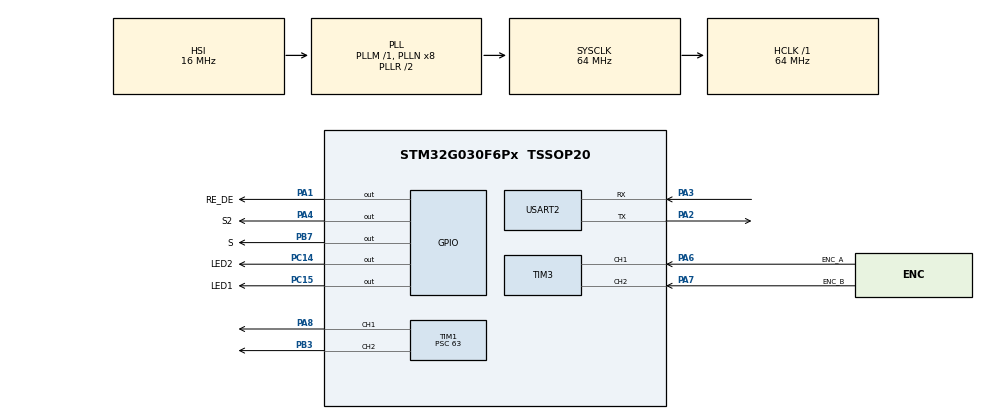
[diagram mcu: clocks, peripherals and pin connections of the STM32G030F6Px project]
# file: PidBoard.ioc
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Dma.Request0=USART2_RX
Dma.Request1=USART2_TX
Dma.USART2_RX.0.Direction=DMA_PERIPH_TO_MEMORY
Dma.USART2_RX.0.EventEnable=DISABLE
Dma.USART2_RX.0.Instance=DMA1_Channel1
Dma.USART2_RX.0.MemDataAlignment=DMA_MDATAALIGN_BYTE
Dma.USART2_RX.0.MemInc=DMA_MINC_ENABLE
Dma.USART2_RX.0.Mode=DMA_CIRCULAR
Dma.USART2_RX.0.PeriphDataAlignment=DMA_PDATAALIGN_BYTE
Dma.USART2_RX.0.PeriphInc=DMA_PINC_DISABLE
Dma.USART2_RX.0.Polarity=HAL_DMAMUX_REQ_GEN_RISING
Dma.USART2_RX.0.Priority=DMA_PRIORITY_MEDIUM
Dma.USART2_RX.0.RequestNumber=1
Dma.USART2_RX.0.SignalID=NONE
Dma.USART2_RX.0.SyncEnable=DISABLE
Dma.USART2_RX.0.SyncPolarity=HAL_DMAMUX_SYNC_NO_EVENT
Dma.USART2_RX.0.SyncRequestNumber=1
Dma.USART2_RX.0.SyncSignalID=NONE
Dma.USART2_TX.1.Direction=DMA_MEMORY_TO_PERIPH
Dma.USART2_TX.1.EventEnable=DISABLE
Dma.USART2_TX.1.Instance=DMA1_Channel2
Dma.USART2_TX.1.MemDataAlignment=DMA_MDATAALIGN_BYTE
Dma.USART2_TX.1.MemInc=DMA_MINC_ENABLE
Dma.USART2_TX.1.Mode=DMA_NORMAL
Dma.USART2_TX.1.PeriphDataAlignment=DMA_PDATAALIGN_BYTE
Dma.USART2_TX.1.PeriphInc=DMA_PINC_DISABLE
Dma.USART2_TX.1.Polarity=HAL_DMAMUX_REQ_GEN_RISING
Dma.USART2_TX.1.Priority=DMA_PRIORITY_LOW
Dma.USART2_TX.1.RequestNumber=1
Dma.USART2_TX.1.SignalID=NONE
Dma.USART2_TX.1.SyncEnable=DISABLE
Dma.USART2_TX.1.SyncPolarity=HAL_DMAMUX_SYNC_NO_EVENT
Dma.USART2_TX.1.SyncRequestNumber=1
Dma.USART2_TX.1.SyncSignalID=NONE
Mcu.Family=STM32G0
Mcu.Name=STM32G030F6Px
Mcu.Package=TSSOP20
NVIC.DMA1_Channel1_IRQn=true\:1\:0\:false\:false\:true\:false\:true\:true
NVIC.DMA1_Channel2_3_IRQn=true\:1\:0\:false\:false\:true\:false\:true\:true
NVIC.TIM14_IRQn=true\:2\:0\:false\:false\:true\:true\:true\:true
NVIC.TIM3_IRQn=true\:2\:0\:false\:false\:true\:true\:true\:true
NVIC.USART2_IRQn=true\:1\:0\:false\:false\:true\:false\:true\:true
PA1.GPIO_Label=RE_DE
PA1.GPIO_PuPd=GPIO_NOPULL
PA1.GPIO_Speed=GPIO_SPEED_FREQ_HIGH
PA1.PinState=GPIO_PIN_RESET
PA1.Signal=GPIO_Output
PA13.Mode=Serial_Wire
PA13.Signal=SYS_SWDIO
PA14-BOOT0.Mode=Serial_Wire
PA14-BOOT0.Signal=SYS_SWCLK
PA14-BOOT0__PA15.StandardMode=true
PA2.Mode=Asynchronous
PA2.Signal=USART2_TX
PA3.Mode=Asynchronous
PA3.Signal=USART2_RX
PA4.GPIO_Label=S2
PA4.GPIO_PuPd=GPIO_NOPULL
PA4.GPIO_Speed=GPIO_SPEED_FREQ_LOW
PA4.PinState=GPIO_PIN_RESET
PA4.Signal=GPIO_Output
PA6.GPIO_Label=ENC_A
PA6.GPIO_PuPd=GPIO_PULLUP
PA6.Signal=S_TIM3_CH1
PA7.GPIO_Label=ENC_B
PA7.GPIO_PuPd=GPIO_PULLUP
PA7.Signal=S_TIM3_CH2
PA8.Signal=S_TIM1_CH1
PB0__PB1__PB2__PA8.StandardMode=true
PB3.Signal=S_TIM1_CH2
PB3__PB4__PB5__PB6.StandardMode=true
PB7.GPIO_Label=S
PB7.GPIO_PuPd=GPIO_NOPULL
PB7.GPIO_Speed=GPIO_SPEED_FREQ_LOW
PB7.PinState=GPIO_PIN_RESET
PB7.Signal=GPIO_Output
PB7__PB8.StandardMode=true
PC14-OSC32_IN\ (PC14).GPIO_Label=LED2
PC14-OSC32_IN\ (PC14).GPIO_PuPd=GPIO_NOPULL
PC14-OSC32_IN\ (PC14).GPIO_Speed=GPIO_SPEED_FREQ_LOW
PC14-OSC32_IN\ (PC14).PinState=GPIO_PIN_SET
PC14-OSC32_IN\ (PC14).Signal=GPIO_Output
PC14-OSC32_IN\ (PC14)__PB9.StandardMode=true
PC15-OSC32_OUT\ (PC15).GPIO_Label=LED1
PC15-OSC32_OUT\ (PC15).GPIO_PuPd=GPIO_NOPULL
PC15-OSC32_OUT\ (PC15).GPIO_Speed=GPIO_SPEED_FREQ_LOW
PC15-OSC32_OUT\ (PC15).PinState=GPIO_PIN_SET
PC15-OSC32_OUT\ (PC15).Signal=GPIO_Output
ProjectManager.HeapSize=0x200
ProjectManager.StackSize=0x400
ProjectManager.TargetToolchain=STM32CubeIDE
RCC.ADCFreq_Value=64000000
RCC.AHBFreq_Value=64000000
RCC.CortexFreq_Value=64000000
RCC.EXTERNAL_CLOCK_VALUE=12288000
RCC.FLatency=FLASH_LATENCY_2
RCC.HCLKFreq_Value=64000000
RCC.HSE_VALUE=8000000
RCC.HSI_VALUE=16000000
RCC.LSE_VALUE=32768
RCC.SYSCLKFreq_VALUE=64000000
RCC.SYSCLKSource=RCC_SYSCLKSOURCE_PLLCLK
RCC.VCOOutputFreq_Value=128000000
SH.S_TIM1_CH1.0=TIM1_CH1,PWM Generation1 CH1
SH.S_TIM1_CH2.0=TIM1_CH2,PWM Generation2 CH2
SH.S_TIM3_CH1.0=TIM3_CH1,Encoder_Interface
SH.S_TIM3_CH2.0=TIM3_CH2,Encoder_Interface
TIM1.AutoReloadPreload=TIM_AUTORELOAD_PRELOAD_ENABLE
TIM1.Channel-PWM\ Generation1\ CH1=TIM_CHANNEL_1
TIM1.Channel-PWM\ Generation2\ CH2=TIM_CHANNEL_2
TIM1.Period=999
TIM1.Prescaler=63
TIM14.Period=999
TIM14.Prescaler=63
TIM3.EncoderMode=TIM_ENCODERMODE_TI12
TIM3.IC1Filter=4
TIM3.IC2Filter=4
TIM3.IC2Polarity=TIM_ICPOLARITY_FALLING
USART2.VirtualMode-Asynchronous=VM_ASYNC
VP_TIM14_VS_ClockSourceINT.Mode=Enable_Timer
board=custom

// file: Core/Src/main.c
/* USER CODE BEGIN Header */
/**
  ******************************************************************************
  * @file           : main.c
  * @brief          : PidBoard (STM32G030F6Px / HB_RBC) 1 kHz Motor PID + RS-485 Slave
  ******************************************************************************
  * @attention
  *
  * Copyright (c) 2026 STMicroelectronics.
  * All rights reserved.
  *
  * This software is licensed under terms that can be found in the LICENSE file
  * in the root directory of this software component.
  * If no LICENSE file comes with this software, it is provided AS-IS.
  *
  ******************************************************************************
  */
/* USER CODE END Header */
#include "main.h"

/* USER CODE BEGIN Includes */
#include "pid_controller.h"
#include "rs485_bus.h"
/* USER CODE END Includes */

TIM_HandleTypeDef htim1;
TIM_HandleTypeDef htim3;
TIM_HandleTypeDef htim14;

UART_HandleTypeDef huart2;
DMA_HandleTypeDef hdma_usart2_rx;
DMA_HandleTypeDef hdma_usart2_tx;

/* USER CODE BEGIN PV */
PID_Controller_t g_pid = {0};
RS485_Bus_t g_rs485 = {0};
/* USER CODE END PV */

void SystemClock_Config(void);
static void MX_GPIO_Init(void);
static void MX_DMA_Init(void);
static void MX_TIM1_Init(void);
static void MX_TIM3_Init(void);
static void MX_TIM14_Init(void);
static void MX_USART2_UART_Init(void);
/* USER CODE BEGIN PFP */
static void pid_apply_motor_outputs(uint8_t gate_enable, int32_t hw_duty_permille);
static void pid_handle_rx_frame(const RS485_Frame_t *frame, uint32_t now_ms);
static void pid_on_rs485_rx(RS485_Bus_t *bus, const RS485_Frame_t *frame, void *ctx);
static void pid_update_status_leds(uint32_t now_ms);
/* USER CODE END PFP */

/* USER CODE BEGIN 0 */
static void pid_apply_motor_outputs(uint8_t gate_enable, int32_t hw_duty_permille)
{
  if (gate_enable == 0U)
  {
    __HAL_TIM_SET_COMPARE(&htim1, TIM_CHANNEL_1, 0U);
    __HAL_TIM_SET_COMPARE(&htim1, TIM_CHANNEL_2, 0U);
    HAL_GPIO_WritePin(S_GPIO_Port, S_Pin, GPIO_PIN_RESET);
    HAL_GPIO_WritePin(S2_GPIO_Port, S2_Pin, GPIO_PIN_RESET);
    return;
  }

  /* Enable both IR2184 ~SD inputs; PWM duty is clamped <= 975 to guarantee bootstrap recharge */
  HAL_GPIO_WritePin(S_GPIO_Port, S_Pin, GPIO_PIN_SET);
  HAL_GPIO_WritePin(S2_GPIO_Port, S2_Pin, GPIO_PIN_SET);

  if (hw_duty_permille > 0)
  {
    uint32_t ccr = (uint32_t)hw_duty_permille;
    if (ccr > (uint32_t)PID_MAX_DUTY_PERMILLE)
    {
      ccr = (uint32_t)PID_MAX_DUTY_PERMILLE;
    }
    __HAL_TIM_SET_COMPARE(&htim1, TIM_CHANNEL_1, 0U);
    __HAL_TIM_SET_COMPARE(&htim1, TIM_CHANNEL_2, ccr);
  }
  else if (hw_duty_permille < 0)
  {
    uint32_t ccr = (uint32_t)(-hw_duty_permille);
    if (ccr > (uint32_t)PID_MAX_DUTY_PERMILLE)
    {
      ccr = (uint32_t)PID_MAX_DUTY_PERMILLE;
    }
    __HAL_TIM_SET_COMPARE(&htim1, TIM_CHANNEL_2, 0U);
    __HAL_TIM_SET_COMPARE(&htim1, TIM_CHANNEL_1, ccr);
  }
  else
  {
    /* Active low-side brake: both IN pins low while ~SD remains HIGH */
    __HAL_TIM_SET_COMPARE(&htim1, TIM_CHANNEL_1, 0U);
    __HAL_TIM_SET_COMPARE(&htim1, TIM_CHANNEL_2, 0U);
  }
}

static void pid_handle_rx_frame(const RS485_Frame_t *frame, uint32_t now_ms)
{
  if (frame == NULL)
  {
    return;
  }

  if (frame->msg_type == (uint8_t)RS485_MSG_MULTI_CMD)
  {
    RS485_MultiCmd_t multi;
    if (!RS485_DecodeMultiCmd(frame, &multi))
    {
      return;
    }

    uint8_t node_id = g_pid.cfg.node_id;
    uint8_t slot_idx = (node_id >= RS485_ADDR_SLAVE_MIN) ? (uint8_t)(node_id - 1U) : 0xFFU;
    bool need_telem = false;
    RS485_Telem_t telem = {0};

    uint32_t primask = __get_PRIMASK();
    __disable_irq();
    if ((multi.flags & RS485_CMD_FLAG_ESTOP) != 0U)
    {
      PID_ApplyCommand(&g_pid, RS485_WHEEL_DISABLED, 0, multi.flags, now_ms);
    }
    else if (slot_idx < multi.num_wheels)
    {
      PID_ApplyCommand(&g_pid,
                       (RS485_WheelMode_t)multi.wheels[slot_idx].mode,
                       (int32_t)multi.wheels[slot_idx].target,
                       multi.flags,
                       now_ms);
    }

    if (multi.poll_id == node_id)
    {
      PID_BuildTelem(&g_pid, &telem);
      need_telem = true;
    }
    if (primask == 0U)
    {
      __enable_irq();
    }

    if (need_telem)
    {
      (void)RS485_ScheduleTelemReply(&g_rs485, frame->src_id, &telem, now_ms);
    }
  }
  else if (frame->msg_type == (uint8_t)RS485_MSG_WHEEL_CMD)
  {
    RS485_WheelCmd_t wcmd;
    if (!RS485_DecodeWheelCmd(frame, &wcmd))
    {
      return;
    }

    RS485_Telem_t telem = {0};
    bool unicast = (frame->dst_id == g_pid.cfg.node_id);

    uint32_t primask = __get_PRIMASK();
    __disable_irq();
    PID_ApplyCommand(&g_pid, (RS485_WheelMode_t)wcmd.mode, wcmd.target, wcmd.flags, now_ms);
    if (unicast)
    {
      PID_BuildTelem(&g_pid, &telem);
    }
    if (primask == 0U)
    {
      __enable_irq();
    }

    if (unicast)
    {
      (void)RS485_ScheduleTelemReply(&g_rs485, frame->src_id, &telem, now_ms);
    }
  }
  else if (frame->msg_type == (uint8_t)RS485_MSG_CFG_CMD)
  {
    RS485_CfgCmd_t ccmd;
    if (!RS485_DecodeCfgCmd(frame, &ccmd))
    {
      return;
    }

    bool save_deferred = false;
    uint8_t status;
    uint8_t updated_id;

    uint32_t primask = __get_PRIMASK();
    __disable_irq();
    status = PID_HandleConfigSubcmd(&g_pid, &ccmd, &save_deferred);
    updated_id = g_pid.cfg.node_id;
    if (primask == 0U)
    {
      __enable_irq();
    }
    (void)save_deferred;

    RS485_SetLocalId(&g_rs485, updated_id);

    if (frame->dst_id != RS485_ADDR_BCAST)
    {
      RS485_CfgAck_t ack = {0};
      ack.node_id  = updated_id;
      ack.subcmd   = ccmd.subcmd;
      ack.status   = status;
      ack.reserved = 0U;
      (void)RS485_ScheduleCfgAckReply(&g_rs485, frame->src_id, &ack, now_ms);
    }
  }
}

static void pid_on_rs485_rx(RS485_Bus_t *bus, const RS485_Frame_t *frame, void *ctx)
{
  (void)ctx;
  if ((bus != NULL) && (frame != NULL))
  {
    pid_handle_rx_frame(frame, bus->last_rx_tick_ms);
  }
}

static void pid_update_status_leds(uint32_t now_ms)
{
  /* LED1 (PC15, active-LOW): solid ON when RS-485 bus active, 1 Hz blink when idle */
  bool link_alive = RS485_IsLinkAlive(&g_rs485, now_ms, PID_CMD_WATCHDOG_MS);
  GPIO_PinState led1_state = (link_alive || (((now_ms / 500U) & 1U) == 0U))
                               ? GPIO_PIN_RESET
                               : GPIO_PIN_SET;
  HAL_GPIO_WritePin(LED1_GPIO_Port, LED1_Pin, led1_state);

  /* LED2 (PC14, active-LOW): ON on E-STOP / watchdog / comm error / saturation, OFF when healthy */
  bool fault_or_sat = (g_pid.watchdog_tripped != 0U) ||
                      (g_pid.estop_latched != 0U) ||
                      (g_pid.comm_err_latched != 0U) ||
                      (g_pid.saturated != 0U);
  HAL_GPIO_WritePin(LED2_GPIO_Port, LED2_Pin, fault_or_sat ? GPIO_PIN_RESET : GPIO_PIN_SET);
}
/* USER CODE END 0 */

int main(void)
{

  /* MCU Configuration--------------------------------------------------------*/

  /* Reset of all peripherals, Initializes the Flash interface and the Systick. */
  HAL_Init();

  /* Configure the system clock */
  SystemClock_Config();

  /* Initialize all configured peripherals */
  MX_GPIO_Init();
  MX_DMA_Init();
  MX_TIM1_Init();
  MX_TIM3_Init();
  MX_TIM14_Init();
  MX_USART2_UART_Init();
  /* USER CODE BEGIN 2 */
  __HAL_TIM_SET_COMPARE(&htim1, TIM_CHANNEL_1, 0U);
  __HAL_TIM_SET_COMPARE(&htim1, TIM_CHANNEL_2, 0U);
  HAL_GPIO_WritePin(S_GPIO_Port, S_Pin, GPIO_PIN_RESET);
  HAL_GPIO_WritePin(S2_GPIO_Port, S2_Pin, GPIO_PIN_RESET);
  HAL_GPIO_WritePin(RE_DE_GPIO_Port, RE_DE_Pin, GPIO_PIN_RESET);

  if (HAL_TIM_PWM_Start(&htim1, TIM_CHANNEL_1) != HAL_OK)
  {
    Error_Handler();
  }
  if (HAL_TIM_PWM_Start(&htim1, TIM_CHANNEL_2) != HAL_OK)
  {
    Error_Handler();
  }
  if (HAL_TIM_Encoder_Start(&htim3, TIM_CHANNEL_ALL) != HAL_OK)
  {
    Error_Handler();
  }

  PID_Init(&g_pid, (uint16_t)__HAL_TIM_GET_COUNTER(&htim3), HAL_GetTick());

  RS485_Init(&g_rs485, &huart2, RE_DE_GPIO_Port, RE_DE_Pin, g_pid.cfg.node_id);
  RS485_SetRxCallback(&g_rs485, pid_on_rs485_rx, NULL);
  if (RS485_StartRx(&g_rs485) != HAL_OK)
  {
    Error_Handler();
  }

  if (HAL_TIM_Base_Start_IT(&htim14) != HAL_OK)
  {
    Error_Handler();
  }
  uint32_t seen_uart_errs = g_rs485.stats.uart_err_recoveries;
  /* USER CODE END 2 */

  /* Infinite loop */
  while (1)
  {

    /* USER CODE BEGIN 3 */
    uint32_t now_ms = HAL_GetTick();

    RS485_ProcessRx(&g_rs485, now_ms);

    uint32_t err_cnt = g_rs485.stats.uart_err_recoveries;
    if (err_cnt != seen_uart_errs)
    {
      seen_uart_errs = err_cnt;
      uint32_t primask = __get_PRIMASK();
      __disable_irq();
      g_pid.comm_err_latched = 1U;
      if (primask == 0U)
      {
        __enable_irq();
      }
    }

    RS485_TickMs(&g_rs485, now_ms);

    if ((g_pid.pending_flash_save != 0U) &&
        (g_rs485.pending_reply_valid == 0U) &&
        (g_rs485.tx_active == 0U) &&
        (huart2.gState == HAL_UART_STATE_READY))
    {
      (void)HAL_TIM_Base_Stop_IT(&htim14);
      pid_apply_motor_outputs(0U, 0);
      PID_ResetControlState(&g_pid);
      g_pid.mode = RS485_WHEEL_DISABLED;
      (void)PID_SaveConfigFlash(&g_pid);
      g_pid.pending_flash_save = 0U;
      RS485_SetLocalId(&g_rs485, g_pid.cfg.node_id);
      (void)HAL_TIM_Base_Start_IT(&htim14);
    }

    pid_update_status_leds(now_ms);
  }
  /* USER CODE END 3 */
}

void SystemClock_Config(void)
{
  RCC_OscInitTypeDef RCC_OscInitStruct = {0};
  RCC_ClkInitTypeDef RCC_ClkInitStruct = {0};

  /** Configure the main internal regulator output voltage
  */
  HAL_PWREx_ControlVoltageScaling(PWR_REGULATOR_VOLTAGE_SCALE1);

  /** Initializes the RCC Oscillators according to the specified parameters
  * in the RCC_OscInitTypeDef structure.
  */
  RCC_OscInitStruct.OscillatorType = RCC_OSCILLATORTYPE_HSI;
  RCC_OscInitStruct.HSIState = RCC_HSI_ON;
  RCC_OscInitStruct.HSIDiv = RCC_HSI_DIV1;
  RCC_OscInitStruct.HSICalibrationValue = RCC_HSICALIBRATION_DEFAULT;
  RCC_OscInitStruct.PLL.PLLState = RCC_PLL_ON;
  RCC_OscInitStruct.PLL.PLLSource = RCC_PLLSOURCE_HSI;
  RCC_OscInitStruct.PLL.PLLM = RCC_PLLM_DIV1;
  RCC_OscInitStruct.PLL.PLLN = 8;
  RCC_OscInitStruct.PLL.PLLP = RCC_PLLP_DIV2;
  RCC_OscInitStruct.PLL.PLLR = RCC_PLLR_DIV2;
  if (HAL_RCC_OscConfig(&RCC_OscInitStruct) != HAL_OK)
  {
    Error_Handler();
  }

  /** Initializes the CPU, AHB and APB buses clocks
  */
  RCC_ClkInitStruct.ClockType = RCC_CLOCKTYPE_HCLK|RCC_CLOCKTYPE_SYSCLK
                              |RCC_CLOCKTYPE_PCLK1;
  RCC_ClkInitStruct.SYSCLKSource = RCC_SYSCLKSOURCE_PLLCLK;
  RCC_ClkInitStruct.AHBCLKDivider = RCC_SYSCLK_DIV1;
  RCC_ClkInitStruct.APB1CLKDivider = RCC_HCLK_DIV1;

  if (HAL_RCC_ClockConfig(&RCC_ClkInitStruct, FLASH_LATENCY_2) != HAL_OK)
  {
    Error_Handler();
  }
}

static void MX_TIM1_Init(void)
{

  TIM_MasterConfigTypeDef sMasterConfig = {0};
  TIM_OC_InitTypeDef sConfigOC = {0};
  TIM_BreakDeadTimeConfigTypeDef sBreakDeadTimeConfig = {0};

  htim1.Instance = TIM1;
  htim1.Init.Prescaler = 63;
  htim1.Init.CounterMode = TIM_COUNTERMODE_UP;
  htim1.Init.Period = 999;
  htim1.Init.ClockDivision = TIM_CLOCKDIVISION_DIV1;
  htim1.Init.RepetitionCounter = 0;
  htim1.Init.AutoReloadPreload = TIM_AUTORELOAD_PRELOAD_ENABLE;
  if (HAL_TIM_PWM_Init(&htim1) != HAL_OK)
  {
    Error_Handler();
  }
  sMasterConfig.MasterOutputTrigger = TIM_TRGO_RESET;
  sMasterConfig.MasterOutputTrigger2 = TIM_TRGO2_RESET;
  sMasterConfig.MasterSlaveMode = TIM_MASTERSLAVEMODE_DISABLE;
  if (HAL_TIMEx_MasterConfigSynchronization(&htim1, &sMasterConfig) != HAL_OK)
  {
    Error_Handler();
  }
  sConfigOC.OCMode = TIM_OCMODE_PWM1;
  sConfigOC.Pulse = 0;
  sConfigOC.OCPolarity = TIM_OCPOLARITY_HIGH;
  sConfigOC.OCNPolarity = TIM_OCNPOLARITY_HIGH;
  sConfigOC.OCFastMode = TIM_OCFAST_DISABLE;
  sConfigOC.OCIdleState = TIM_OCIDLESTATE_RESET;
  sConfigOC.OCNIdleState = TIM_OCNIDLESTATE_RESET;
  if (HAL_TIM_PWM_ConfigChannel(&htim1, &sConfigOC, TIM_CHANNEL_1) != HAL_OK)
  {
    Error_Handler();
  }
  if (HAL_TIM_PWM_ConfigChannel(&htim1, &sConfigOC, TIM_CHANNEL_2) != HAL_OK)
  {
    Error_Handler();
  }
  sBreakDeadTimeConfig.OffStateRunMode = TIM_OSSR_DISABLE;
  sBreakDeadTimeConfig.OffStateIDLEMode = TIM_OSSI_DISABLE;
  sBreakDeadTimeConfig.LockLevel = TIM_LOCKLEVEL_OFF;
  sBreakDeadTimeConfig.DeadTime = 0;
  sBreakDeadTimeConfig.BreakState = TIM_BREAK_DISABLE;
  sBreakDeadTimeConfig.BreakPolarity = TIM_BREAKPOLARITY_HIGH;
  sBreakDeadTimeConfig.BreakFilter = 0;
  sBreakDeadTimeConfig.BreakAFMode = TIM_BREAK_AFMODE_INPUT;
  sBreakDeadTimeConfig.Break2State = TIM_BREAK2_DISABLE;
  sBreakDeadTimeConfig.Break2Polarity = TIM_BREAK2POLARITY_HIGH;
  sBreakDeadTimeConfig.Break2Filter = 0;
  sBreakDeadTimeConfig.Break2AFMode = TIM_BREAK_AFMODE_INPUT;
  sBreakDeadTimeConfig.AutomaticOutput = TIM_AUTOMATICOUTPUT_DISABLE;
  if (HAL_TIMEx_ConfigBreakDeadTime(&htim1, &sBreakDeadTimeConfig) != HAL_OK)
  {
    Error_Handler();
  }
  HAL_TIM_MspPostInit(&htim1);

}

static void MX_TIM3_Init(void)
{

  TIM_Encoder_InitTypeDef sConfig = {0};
  TIM_MasterConfigTypeDef sMasterConfig = {0};

  htim3.Instance = TIM3;
  htim3.Init.Prescaler = 0;
  htim3.Init.CounterMode = TIM_COUNTERMODE_UP;
  htim3.Init.Period = 65535;
  htim3.Init.ClockDivision = TIM_CLOCKDIVISION_DIV1;
  htim3.Init.AutoReloadPreload = TIM_AUTORELOAD_PRELOAD_DISABLE;
  sConfig.EncoderMode = TIM_ENCODERMODE_TI12;
  sConfig.IC1Polarity = TIM_ICPOLARITY_RISING;
  sConfig.IC1Selection = TIM_ICSELECTION_DIRECTTI;
  sConfig.IC1Prescaler = TIM_ICPSC_DIV1;
  sConfig.IC1Filter = 4;
  sConfig.IC2Polarity = TIM_ICPOLARITY_FALLING;
  sConfig.IC2Selection = TIM_ICSELECTION_DIRECTTI;
  sConfig.IC2Prescaler = TIM_ICPSC_DIV1;
  sConfig.IC2Filter = 4;
  if (HAL_TIM_Encoder_Init(&htim3, &sConfig) != HAL_OK)
  {
    Error_Handler();
  }
  sMasterConfig.MasterOutputTrigger = TIM_TRGO_RESET;
  sMasterConfig.MasterSlaveMode = TIM_MASTERSLAVEMODE_DISABLE;
  if (HAL_TIMEx_MasterConfigSynchronization(&htim3, &sMasterConfig) != HAL_OK)
  {
    Error_Handler();
  }

}

static void MX_TIM14_Init(void)
{

  htim14.Instance = TIM14;
  htim14.Init.Prescaler = 63;
  htim14.Init.CounterMode = TIM_COUNTERMODE_UP;
  htim14.Init.Period = 999;
  htim14.Init.ClockDivision = TIM_CLOCKDIVISION_DIV1;
  htim14.Init.AutoReloadPreload = TIM_AUTORELOAD_PRELOAD_DISABLE;
  if (HAL_TIM_Base_Init(&htim14) != HAL_OK)
  {
    Error_Handler();
  }

}

static void MX_USART2_UART_Init(void)
{

  huart2.Instance = USART2;
  huart2.Init.BaudRate = 115200;
  huart2.Init.WordLength = UART_WORDLENGTH_8B;
  huart2.Init.StopBits = UART_STOPBITS_1;
  huart2.Init.Parity = UART_PARITY_NONE;
  huart2.Init.Mode = UART_MODE_TX_RX;
  huart2.Init.HwFlowCtl = UART_HWCONTROL_NONE;
  huart2.Init.OverSampling = UART_OVERSAMPLING_16;
  huart2.Init.OneBitSampling = UART_ONE_BIT_SAMPLE_DISABLE;
  huart2.Init.ClockPrescaler = UART_PRESCALER_DIV1;
  huart2.AdvancedInit.AdvFeatureInit = UART_ADVFEATURE_NO_INIT;
  if (HAL_UART_Init(&huart2) != HAL_OK)
  {
    Error_Handler();
  }

}

static void MX_DMA_Init(void)
{

  /* DMA controller clock enable */
  __HAL_RCC_DMA1_CLK_ENABLE();

  /* DMA interrupt init */
  /* DMA1_Channel1_IRQn interrupt configuration */
  HAL_NVIC_SetPriority(DMA1_Channel1_IRQn, 1, 0);
  HAL_NVIC_EnableIRQ(DMA1_Channel1_IRQn);
  /* DMA1_Channel2_3_IRQn interrupt configuration */
  HAL_NVIC_SetPriority(DMA1_Channel2_3_IRQn, 1, 0);
  HAL_NVIC_EnableIRQ(DMA1_Channel2_3_IRQn);

}

static void MX_GPIO_Init(void)
{
  GPIO_InitTypeDef GPIO_InitStruct = {0};

  /* GPIO Ports Clock Enable */
  __HAL_RCC_GPIOC_CLK_ENABLE();
  __HAL_RCC_GPIOA_CLK_ENABLE();
  __HAL_RCC_GPIOB_CLK_ENABLE();

  /*Configure GPIO pin Output Level */
  HAL_GPIO_WritePin(GPIOC, LED2_Pin|LED1_Pin, GPIO_PIN_SET);

  /*Configure GPIO pin Output Level */
  HAL_GPIO_WritePin(GPIOA, RE_DE_Pin|S2_Pin, GPIO_PIN_RESET);

  /*Configure GPIO pin Output Level */
  HAL_GPIO_WritePin(S_GPIO_Port, S_Pin, GPIO_PIN_RESET);

  /*Configure GPIO pins : LED2_Pin LED1_Pin */
  GPIO_InitStruct.Pin = LED2_Pin|LED1_Pin;
  GPIO_InitStruct.Mode = GPIO_MODE_OUTPUT_PP;
  GPIO_InitStruct.Pull = GPIO_NOPULL;
  GPIO_InitStruct.Speed = GPIO_SPEED_FREQ_LOW;
  HAL_GPIO_Init(GPIOC, &GPIO_InitStruct);

  /*Configure GPIO pin : RE_DE_Pin */
  GPIO_InitStruct.Pin = RE_DE_Pin;
  GPIO_InitStruct.Mode = GPIO_MODE_OUTPUT_PP;
  GPIO_InitStruct.Pull = GPIO_NOPULL;
  GPIO_InitStruct.Speed = GPIO_SPEED_FREQ_HIGH;
  HAL_GPIO_Init(RE_DE_GPIO_Port, &GPIO_InitStruct);

  /*Configure GPIO pin : S2_Pin */
  GPIO_InitStruct.Pin = S2_Pin;
  GPIO_InitStruct.Mode = GPIO_MODE_OUTPUT_PP;
  GPIO_InitStruct.Pull = GPIO_NOPULL;
  GPIO_InitStruct.Speed = GPIO_SPEED_FREQ_LOW;
  HAL_GPIO_Init(S2_GPIO_Port, &GPIO_InitStruct);

  /*Configure GPIO pin : S_Pin */
  GPIO_InitStruct.Pin = S_Pin;
  GPIO_InitStruct.Mode = GPIO_MODE_OUTPUT_PP;
  GPIO_InitStruct.Pull = GPIO_NOPULL;
  GPIO_InitStruct.Speed = GPIO_SPEED_FREQ_LOW;
  HAL_GPIO_Init(S_GPIO_Port, &GPIO_InitStruct);

}

/* USER CODE BEGIN 4 */
void HAL_TIM_PeriodElapsedCallback(TIM_HandleTypeDef *htim)
{
  if (htim->Instance == TIM14)
  {
    uint16_t hw_cnt = (uint16_t)__HAL_TIM_GET_COUNTER(&htim3);
    PID_Step1kHz(&g_pid, hw_cnt, HAL_GetTick());
    pid_apply_motor_outputs(g_pid.gate_enable, g_pid.hw_duty_permille);
  }
}

void HAL_UART_TxCpltCallback(UART_HandleTypeDef *huart)
{
  RS485_TxCpltCallback(&g_rs485, huart);
}

void HAL_UART_ErrorCallback(UART_HandleTypeDef *huart)
{
  RS485_UartErrorCallback(&g_rs485, huart);
}
/* USER CODE END 4 */

void Error_Handler(void)
{
  /* USER CODE BEGIN Error_Handler_Debug */
  __HAL_TIM_SET_COMPARE(&htim1, TIM_CHANNEL_1, 0U);
  __HAL_TIM_SET_COMPARE(&htim1, TIM_CHANNEL_2, 0U);
  HAL_GPIO_WritePin(S_GPIO_Port, S_Pin, GPIO_PIN_RESET);
  HAL_GPIO_WritePin(S2_GPIO_Port, S2_Pin, GPIO_PIN_RESET);
  HAL_GPIO_WritePin(RE_DE_GPIO_Port, RE_DE_Pin, GPIO_PIN_RESET);
  HAL_GPIO_WritePin(LED2_GPIO_Port, LED2_Pin, GPIO_PIN_RESET);
  __disable_irq();
  while (1)
  {
  }
  /* USER CODE END Error_Handler_Debug */
}
#ifdef USE_FULL_ASSERT
/**
  * @brief  Reports the name of the source file and the source line number
  *         where the assert_param error has occurred.
  * @param  file: pointer to the source file name
  * @param  line: assert_param error line source number
  * @retval None
  */
void assert_failed(uint8_t *file, uint32_t line)
{
  /* USER CODE BEGIN 6 */
  (void)file;
  (void)line;
  /* USER CODE END 6 */
}
#endif /* USE_FULL_ASSERT */
